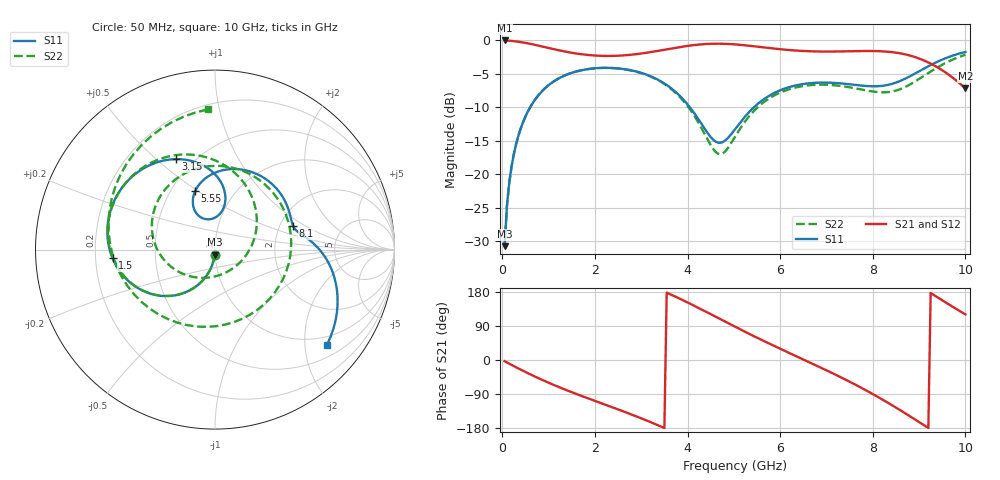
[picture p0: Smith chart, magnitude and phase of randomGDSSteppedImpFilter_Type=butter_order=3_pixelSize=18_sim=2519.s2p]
! freq	dB(S11)	phase(S11)	dB(S12)	phase(S12)
!  dB(S21)	phase(S21)	dB(S22)	phase(S22)
!S-par simulation data
#  GHz  S  DB  R 50
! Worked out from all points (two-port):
!   200 points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, 50 MHz to 10 GHz, reference 50 ohm
!   highest |S21| = -0.01 dB at 50 MHz (marker M1); lowest = -7.2 dB at 10 GHz (marker M2)
!   |S21| within 3 dB of the highest: start of sweep to 9.109 GHz
!   lowest |S11| = -30.7 dB at 50 MHz (marker M3), VSWR 1.06, Z = 49.7 - j2.89 ohm
!   |S11| at or under -10 dB: start of sweep to 601 MHz; 4.052 GHz to 5.432 GHz (1.38 GHz wide, 29.1 % of centre)
!   |S22| runs from -30.7 to -2.1 dB; largest |S21 - S12| = 0
!   S11 on the Smith chart (normalised r, x): 50 MHz: 0.99, -0.06; 1.5 GHz: 0.27, -0.04; 3.15 GHz: 0.40, +0.58; 5.55 GHz: 0.66, +0.48; 8.1 GHz: 2.36, +0.78; 10 GHz: 0.77, -2.50
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0.05  -30.74 -93.3  -0.01 -3.3  -0.01 -3.3  -30.75 -93.3
0.2  -18.83 -103.4  -0.08 -12.9  -0.08 -12.9  -18.83 -103.4
0.45  -12.19 -119.1  -0.31 -28.6  -0.31 -28.6  -12.19 -119.2
0.95  -6.98 -147.7  -1.05 -57.3  -1.05 -57.3  -6.98 -148.0
1.5  -4.84 -175.1  -1.85 -85.0  -1.85 -85.0  -4.85 -175.8
1.75  -4.40 173.5  -2.10 -96.6  -2.10 -96.6  -4.41 172.4
2.4  -4.13 145.4  -2.31 -125.8  -2.31 -125.8  -4.14 142.3
3.15  -5.21 113.3  -1.81 -161.3  -1.81 -161.3  -5.25 104.4
3.4  -6.02 102.7  -1.52 -174.2  -1.52 -174.2  -6.08 89.7
4.15  -10.91 78.3  -0.69 142.8  -0.69 142.8  -11.31 31.2
4.65  -15.27 95.4  -0.49 111.4  -0.49 111.4  -16.90 -50.6
5.05  -13.05 116.9  -0.61 86.2  -0.61 86.2  -14.12 -129.7
5.55  -9.29 108.9  -0.97 55.9  -0.97 55.9  -9.77 178.7
6.1  -7.19 87.1  -1.38 24.1  -1.38 24.1  -7.52 138.5
6.7  -6.36 61.4  -1.64 -9.9  -1.64 -9.9  -6.66 97.6
7.55  -6.59 29.7  -1.61 -60.4  -1.61 -60.4  -7.07 30.3
8.1  -6.85 16.8  -1.60 -96.7  -1.60 -96.7  -7.72 -28.9
8.35  -6.62 12.9  -1.71 -114.5  -1.71 -114.5  -7.71 -61.5
8.8  -5.37 4.7  -2.26 -148.2  -2.26 -148.2  -6.60 -124.2
9.3  -3.51 -10.9  -3.65 172.9  -3.65 172.9  -4.44 170.8
9.6  -2.59 -23.1  -4.93 149.9  -4.93 149.9  -3.27 135.9
10  -1.73 -40.5  -7.17 120.4  -7.17 120.4  -2.14 93.0
